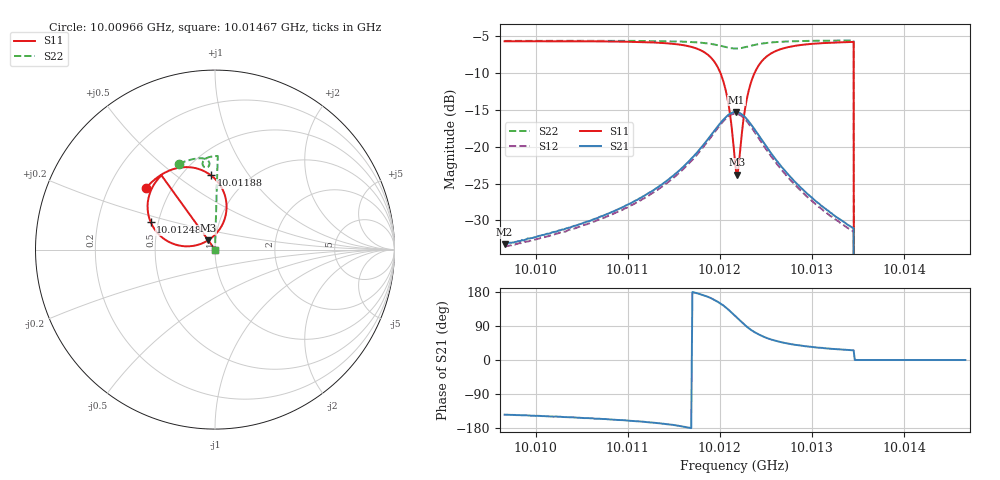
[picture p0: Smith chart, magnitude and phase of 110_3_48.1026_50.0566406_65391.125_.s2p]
#  HZ  S  RI  R  50.00
! Rohde & Schwarz Vector Network Analyzer
! Rohde-Schwarz,ZNB20-2Port,1311601062101988,3.16
! Created: UTC 12/23/2023, 3:45:40 AM
! freq[Hz]  re:S11  im:S11  re:S21  im:S21  re:S12  im:S12  re:S22  im:S22
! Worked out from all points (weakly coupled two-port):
!   401 points, 10.00966 GHz to 10.01467 GHz, reference 50 ohm
!   highest |S21| = -15.32 dB at 10.01218 GHz (marker M1); lowest = -33.2 dB at 10.00966 GHz (marker M2)
!   lowest |S11| = -23.8 dB at 10.01219 GHz (marker M3), VSWR 1.14, Z = 46 + j4.71 ohm
!   |S11| at or under -10 dB: 10.01201 GHz to 10.01238 GHz (374.3 kHz wide, 0.00374 % of centre); 10.01345 GHz to end of sweep
!   |S22| runs from - to -5.6 dB; largest |S21 - S12| = 0.0084
!   S11 on the Smith chart (normalised r, x): 10.00966 GHz: 0.36, +0.34; 10.01188 GHz: 0.68, +0.68; 10.01248 GHz: 0.45, +0.16; 10.01467 GHz: 1.00, +0.00
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1.0009665e10  -0.383 0.3448  -0.0177 -0.0128  -0.0165 -0.0133  -0.2018 0.4773
1.0010502e10  -0.3277 0.3971  -0.0268 -0.0139  -0.0252 -0.0145  -0.1492 0.4971
1.001134e10  -0.2245 0.4507  -0.0523 -0.0122  -0.0498 -0.0144  -0.0891 0.5089
1.001169e10  -0.1219 0.4565  -0.0826 -0.000303  -0.0798 -0.0042  -0.0579 0.5065
1.0011878e10  -0.0222 0.4135  -0.11 0.0273  -0.1081 0.0208  -0.0392 0.4959
1.0011978e10  0.0383 0.3423  -0.1225 0.0607  -0.1222 0.053  -0.0318 0.4841
1.0012053e10  0.0643 0.2487  -0.1211 0.0974  -0.1225 0.0897  -0.0317 0.4718
1.0012103e10  0.0543 0.1715  -0.1083 0.125  -0.1107 0.1179  -0.0359 0.4636
1.0012166e10  -0.00375 0.0787  -0.0763 0.1534  -0.0807 0.1462  -0.0463 0.4578
1.0012178e10  -0.0208 0.0641  -0.0685 0.1571  -0.0727 0.1501  -0.0487 0.4575
1.0012191e10  -0.0396 0.0511  -0.0601 0.1599  -0.0643 0.1533  -0.0511 0.4575
1.0012216e10  -0.08 0.0314  -0.0436 0.163  -0.0472 0.157  -0.056 0.4587
1.0012266e10  -0.1642 0.0182  -0.0106 0.1596  -0.0153 0.1541  -0.0639 0.4638
1.0012316e10  -0.2386 0.0344  0.0162 0.1468  0.0109 0.1418  -0.0685 0.4718
1.0012391e10  -0.3148 0.0865  0.0399 0.121  0.0342 0.1172  -0.069 0.4838
1.0012478e10  -0.3588 0.1543  0.0509 0.0928  0.0456 0.0902  -0.0639 0.4952
1.0012703e10  -0.3725 0.2766  0.0488 0.049  0.0445 0.0486  -0.0442 0.5107
1.0013004e10  -0.3436 0.3563  0.037 0.0254  0.034 0.0257  -0.0186 0.5184
1.0013429e10  -0.3006 0.4116  0.0257 0.0124  0.024 0.0131  0.0136 0.5217
1.0013491e10  0 0  0 0  0 0  0 0
1.0013841e10  0 0  0 0  0 0  0 0
1.0014667e10  0 0  0 0  0 0  0 0
